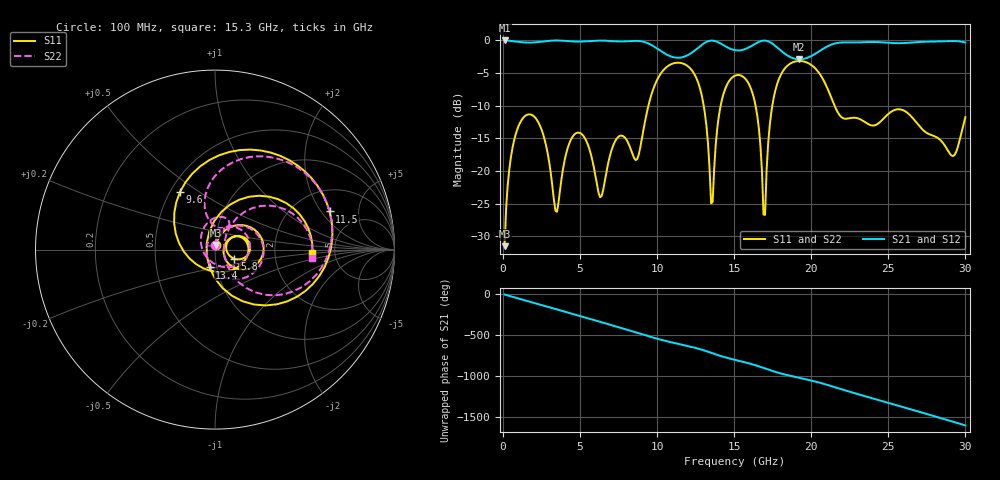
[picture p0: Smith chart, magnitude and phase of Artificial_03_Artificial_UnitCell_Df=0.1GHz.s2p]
! Touchstone file exported from HFSS 2021.2.0
!  File:  C:/Users/pmena/AData/NRAO/Modelling/HFSS/Artificial/Artificial.aedt
!  Generated:  9:51:31 AM  Mar 03, 2023
!  Design:  03_Artificial_UnitCell
!  Project:  Artificial
!  Setup:  Setup2
!  Solution:  Sweep
! Variables:
!  $Tc = 14.7
!  $l0NTN = 314.642654451045nm
!  $l0nm = 314.642654451045
!  $rn = 132
!  L1 = 440um
!  L2 = 884um
!  L3 = 804um
!  L4 = 372um
!  N1 = 110
!  N2 = 221
!  N3 = 201
!  N4 = 93
!  Wl = 35um
!  Wu = 19um
!  Zp = 50ohm
!  g = 1um
!  ha = 140um
!  hd = 140um
!  hp = 70um
!  lH = 1um
!  lL = 1um
!  la = 3140um
!  ld = 3140um
!  lext = 0
!  ll1 = 160um
!  ll2 = 160um
!  ll3 = 320um
!  ls = 3140um
!  lu = 4um
!  nn1 = 40
!  nn2 = 40
!  nn3 = 80
!  nu = 30
!  ts = 60nm
!  wH = 1um
!  wa = 280um
!  wd = 280um
!  wp = 140um
# GHz S MA R 50.000000
! Terminal data exported
! Port[1] = 1
! Port[2] = 2
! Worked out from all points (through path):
!   300 points, 100 MHz to 30 GHz, reference 50 ohm
!   highest |S21| = 0.00 dB at 100 MHz (marker M1); lowest = -2.9 dB at 19.2 GHz (marker M2)
!   group delay of S21, straight-line fit = 147 ps
!   lowest |S11| = -31.5 dB at 100 MHz (marker M3), VSWR 1.05, Z = 50.6 + j2.6 ohm
!   |S11| at or under -10 dB: start of sweep to 9.433 GHz; 16.38 GHz to 17.47 GHz (1.088 GHz wide, 6.43 % of centre); 21.51 GHz to end of sweep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
!   |S22| runs from -31.5 to -3.2 dB; largest |S21 - S12| = 2.2e-14
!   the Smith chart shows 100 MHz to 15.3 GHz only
!   S11 on the Smith chart (normalised r, x): 100 MHz: 1.01, +0.05; 5.8 GHz: 1.24, -0.13; 9.6 GHz: 0.56, +0.42; 11.5 GHz: 3.11, +2.42; 13.4 GHz: 0.92, -0.19; 15.3 GHz: 3.37, -0.17
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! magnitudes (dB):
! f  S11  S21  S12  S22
! 100 MHz  -31.5  0.0  0.0  -31.5
! 1.2 GHz  -12.2  -0.3  -0.3  -12.2
! 3.5 GHz  -26.3  0.0  0.0  -26.3
! 5.1 GHz  -14.3  -0.2  -0.2  -14.3
! 5.8 GHz  -18.4  -0.1  -0.1  -18.4
! 8.7 GHz  -18.2  -0.1  -0.1  -18.2
! 9.6 GHz  -8.5  -0.7  -0.7  -8.5
! 10.1 GHz  -5.6  -1.4  -1.4  -5.6
! 11.5 GHz  -3.4  -2.6  -2.6  -3.4
! 12.8 GHz  -7.5  -0.9  -0.9  -7.5
! 13.4 GHz  -19.7  -0.1  -0.1  -19.6
! 13.6 GHz  -24.7  0.0  0.0  -24.6
! 14.1 GHz  -10.2  -0.4  -0.4  -10.2
! 15.1 GHz  -5.4  -1.5  -1.5  -5.4
! 15.3 GHz  -5.3  -1.5  -1.5  -5.3
! 16.4 GHz  -10.2  -0.5  -0.5  -10.2
! 17 GHz  -26.7  0.0  0.0  -26.5
! 17.6 GHz  -8.3  -0.7  -0.7  -8.3
! 19.2 GHz  -3.1  -2.9  -2.9  -3.2
! 20.1 GHz  -3.9  -2.3  -2.3  -3.9
! 25.1 GHz  -11.1  -0.4  -0.4  -11.1
! 30 GHz  -11.8  -0.3  -0.3  -11.8
